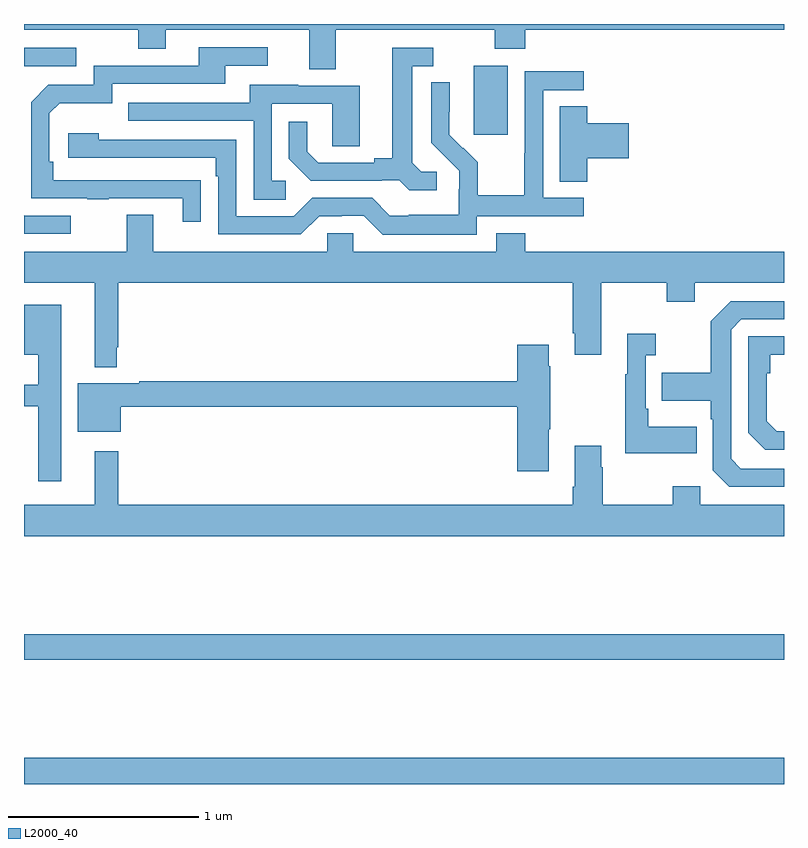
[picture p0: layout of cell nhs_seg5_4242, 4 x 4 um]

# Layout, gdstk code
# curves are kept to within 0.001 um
import gdstk
lib = gdstk.Library(unit=1e-6, precision=1e-09)
def R(c, l, rs):  # rectangles x0, y0, x1, y1
    for r in rs: c.add(gdstk.rectangle(r[:2], r[2:], *l))
def P(c, l, *ps):  # polygons
    for p in ps: c.add(gdstk.Polygon(p, *l))
L2000_40 = (2000, 40)

nhs_seg5_4242 = lib.new_cell('nhs_seg5_4242')
R(nhs_seg5_4242, L2000_40, [(361,844.799,365,844.936), (361,845.452,365,845.588), (363.368,848.217,363.547,848.578), (361,848.577,361.276,848.673)])
P(nhs_seg5_4242, L2000_40, [(362.641,848.768),(363.478,848.768),(363.478,848.669),(363.638,848.669),(363.638,848.768),(365,848.768),(365,848.799),(361,848.799),(361,848.768),(361.6,848.768),(361.6,848.669),(361.747,848.669),(361.747,848.768),(362.501,848.768),(362.501,848.56),(362.641,848.56)],
  [(361.931,847.976),(361.154,847.977),(361.154,848.074),(361.134,848.074),(361.134,848.328),(361.187,848.381),(361.464,848.381),(361.464,848.484),(362.059,848.484),(362.059,848.58),(362.284,848.58),(362.284,848.676),(361.919,848.676),(361.919,848.58),(361.368,848.58),(361.368,848.478),(361.128,848.478),(361.038,848.388),(361.038,847.881),(361.333,847.881),(361.333,847.876),(361.445,847.876),(361.445,847.881),(361.835,847.881),(361.835,847.758),(361.931,847.758)],
  [(363.172,848.022),(363.09,848.022),(363.043,848.069),(363.043,848.577),(363.154,848.577),(363.154,848.673),(362.939,848.673),(362.939,848.093),(362.843,848.093),(362.843,848.07),(362.548,848.07),(362.491,848.127),(362.491,848.284),(362.394,848.284),(362.394,848.09),(362.51,847.974),(362.882,847.974),(362.882,847.977),(362.976,847.977),(363.028,847.925),(363.172,847.925)],
  [(363.384,847.788),(363.946,847.788),(363.946,847.884),(363.732,847.884),(363.732,848.451),(363.946,848.451),(363.946,848.55),(363.636,848.55),(363.636,848.12),(363.634,848.12),(363.634,847.897),(363.389,847.897),(363.389,848.071),(363.312,848.148),(363.309,848.145),(363.239,848.216),(363.24,848.492),(363.144,848.492),(363.144,848.174),(363.29,848.026),(363.29,847.929),(363.288,847.929),(363.288,847.795),(363.025,847.795),(363.025,847.791),(362.925,847.791),(362.832,847.884),(362.517,847.884),(362.421,847.788),(362.118,847.788),(362.118,848.19),(361.394,848.19),(361.394,848.224),(361.233,848.224),(361.233,848.094),(362.009,848.094),(362.009,847.997),(362.022,847.997),(362.022,847.692),(362.457,847.692),(362.553,847.788),(362.672,847.788),(362.672,847.791),(362.787,847.791),(362.887,847.691),(363.384,847.691)],
  [(362.377,847.974),(362.304,847.974),(362.304,848.379),(362.622,848.379),(362.622,848.155),(362.767,848.155),(362.767,848.475),(362.443,848.475),(362.443,848.479),(362.189,848.479),(362.189,848.385),(361.549,848.385),(361.549,848.289),(362.208,848.289),(362.208,847.873),(362.377,847.873)],
  [(363.965,848.093),(364.183,848.093),(364.183,848.276),(363.965,848.276),(363.965,848.366),(363.821,848.366),(363.821,847.969),(363.965,847.969)],
  [(361.246,847.791),(361.002,847.791),(361,847.793),(361,847.695),(361.246,847.695)],
  [(363.638,847.699),(363.485,847.699),(363.485,847.6),(362.733,847.6),(362.733,847.698),(362.595,847.698),(362.595,847.6),(361.681,847.6),(361.681,847.795),(361.541,847.795),(361.541,847.6),(361,847.6),(361,847.436),(361.373,847.436),(361.373,846.992),(361.488,846.992),(361.488,847.099),(361.495,847.099),(361.495,847.436),(363.887,847.436),(363.887,847.171),(363.899,847.171),(363.899,847.059),(364.039,847.059),(364.039,847.436),(364.384,847.436),(364.384,847.337),(364.531,847.337),(364.531,847.436),(365,847.436),(365,847.6),(363.638,847.6)],
  [(365,846.459),(364.773,846.459),(364.722,846.51),(364.722,847.191),(364.776,847.245),(365,847.245),(365,847.341),(364.719,847.341),(364.614,847.235),(364.614,846.963),(364.357,846.963),(364.357,846.815),(364.614,846.815),(364.614,846.719),(364.626,846.719),(364.626,846.45),(364.713,846.363),(365,846.363)],
  [(361.195,847.321),(361,847.321),(361,847.058),(361.074,847.058),(361.074,846.901),(361,846.901),(361,846.788),(361.074,846.788),(361.074,846.393),(361.195,846.393)],
  [(364.541,846.679),(364.285,846.679),(364.285,846.775),(364.272,846.775),(364.272,847.055),(364.324,847.055),(364.324,847.168),(364.175,847.168),(364.175,846.955),(364.164,846.955),(364.164,846.539),(364.541,846.539)],
  [(365,846.655),(364.961,846.655),(364.908,846.708),(364.908,846.962),(364.928,846.962),(364.928,847.059),(365,847.059),(365,847.155),(364.812,847.155),(364.812,846.648),(364.902,846.558),(365,846.558)],
  [(363.763,846.667),(363.771,846.667),(363.771,846.998),(363.763,846.998),(363.763,847.111),(363.596,847.111),(363.596,846.92),(361.606,846.92),(361.606,846.907),(361.283,846.907),(361.283,846.653),(361.51,846.653),(361.51,846.784),(363.596,846.784),(363.596,846.444),(363.763,846.444)],
  [(365,846.268),(364.56,846.268),(364.56,846.367),(364.414,846.367),(364.414,846.268),(364.047,846.268),(364.047,846.467),(364.039,846.467),(364.039,846.58),(363.899,846.58),(363.899,846.364),(363.887,846.364),(363.887,846.268),(361.495,846.268),(361.495,846.55),(361.373,846.55),(361.373,846.268),(361,846.268),(361,846.104),(365,846.104)])

lib.write_gds('nhs_seg5_4242.gds')
